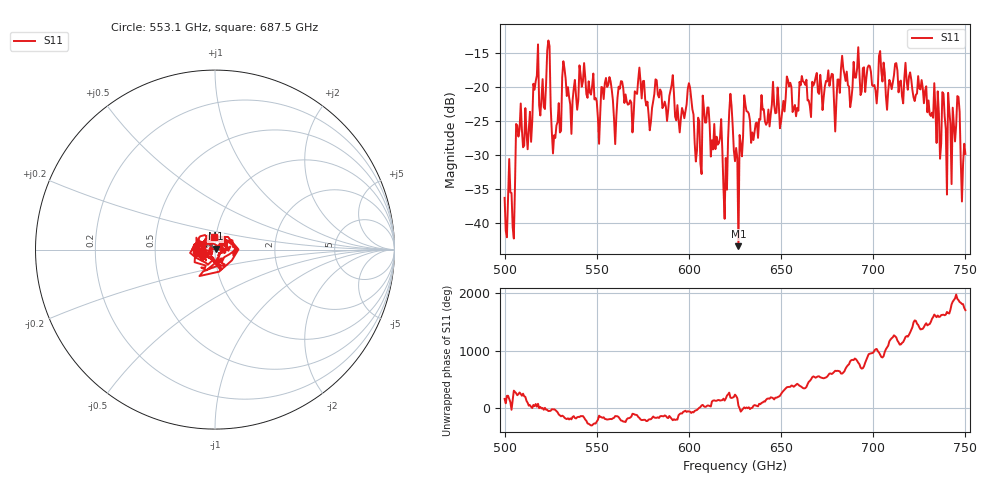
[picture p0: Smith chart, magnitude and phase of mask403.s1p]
!Created with skrf (http://scikit-rf.org).
# GHz S MA R 50.0
!freq magS11 angS11
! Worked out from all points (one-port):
!   401 points, 500 GHz to 750 GHz, reference 50 ohm
!   lowest |S11| = -43.4 dB at 626.9 GHz (marker M1), VSWR 1.01, Z = 50.5 + j0.437 ohm
!   |S11| at or under -10 dB: start of sweep to end of sweep
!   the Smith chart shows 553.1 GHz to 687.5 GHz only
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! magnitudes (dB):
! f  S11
! 500 GHz  -36.3
! 504.4 GHz  -40.6
! 507.5 GHz  -27.2
! 513.8 GHz  -23.6
! 516.9 GHz  -19.1
! 520.6 GHz  -18.8
! 523.8 GHz  -13.1
! 526.9 GHz  -27.0
! 531.2 GHz  -18.5
! 556.2 GHz  -19.6
! 560 GHz  -28.3
! 562.5 GHz  -20.2
! 593.8 GHz  -22.6
! 600.6 GHz  -20.0
! 605.6 GHz  -25.0
! 608.8 GHz  -25.2
! 619.4 GHz  -39.4
! 622.5 GHz  -20.9
! 625 GHz  -30.9
! 626.9 GHz  -43.4
! 631.2 GHz  -23.5
! 635 GHz  -27.8
! 656.2 GHz  -23.6
! 687.5 GHz  -22.9
! 718.8 GHz  -20.3
! 741.2 GHz  -23.3
! 745.6 GHz  -21.3
! 750 GHz  -29.8
